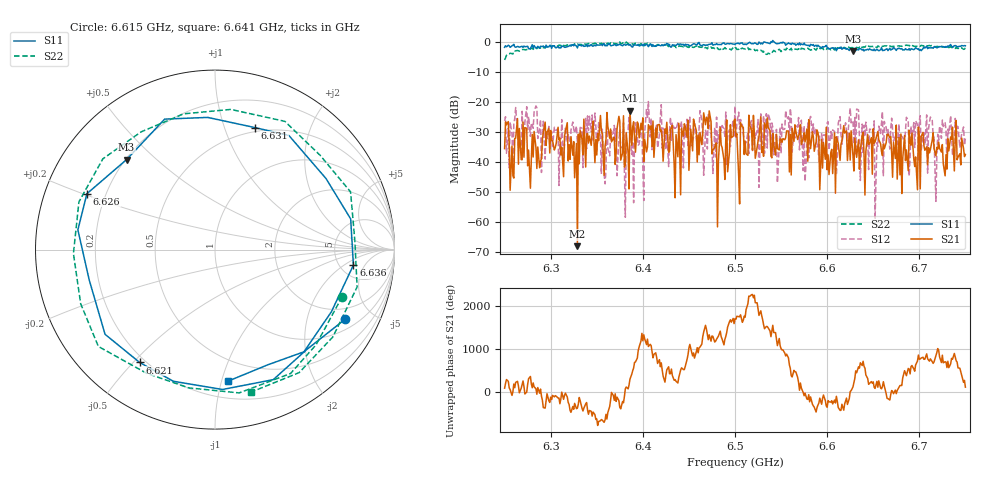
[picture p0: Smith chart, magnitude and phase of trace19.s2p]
# Hz S RI R 50
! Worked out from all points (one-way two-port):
!   401 points, 6.25 GHz to 6.75 GHz, reference 50 ohm
!   highest |S21| = -22.80 dB at 6.386 GHz (marker M1); lowest = -67.9 dB at 6.329 GHz (marker M2)
!   lowest |S11| = -3.1 dB at 6.628 GHz (marker M3), VSWR 5.73, Z = 10.2 + j20.2 ohm
!   |S11| at or under -10 dB: nowhere
!   |S22| runs from -6.0 to 0.0 dB; largest |S21 - S12| = 0.12
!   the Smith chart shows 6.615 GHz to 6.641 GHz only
!   S11 on the Smith chart (normalised r, x): 6.615 GHz: 1.44, -3.44; 6.621 GHz: 0.18, -0.52; 6.626 GHz: 0.13, +0.21; 6.631 GHz: 0.46, +1.27; 6.636 GHz: 6.65, -2.89; 6.641 GHz: 0.33, -1.05
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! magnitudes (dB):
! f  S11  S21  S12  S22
! 6.25 GHz  -1.8  -35.5  -26.2  -6.0
! 6.258 GHz  -1.3  -34.6  -30.5  -3.9
! 6.318 GHz  -1.6  -26.9  -33.2  -1.0
! 6.329 GHz  -2.0  -67.9  -33.9  -0.6
! 6.334 GHz  -1.3  -32.4  -28.7  -0.9
! 6.358 GHz  -0.6  -44.4  -43.9  -0.4
! 6.386 GHz  -0.8  -22.8  -31.4  -0.5
! 6.418 GHz  -1.1  -27.4  -30.8  -0.9
! 6.435 GHz  -1.1  -51.8  -28.5  -1.4
! 6.471 GHz  -0.9  -28.9  -24.0  -1.7
! 6.48 GHz  -0.5  -33.6  -25.0  -2.2
! 6.5 GHz  -0.9  -25.6  -21.3  -2.0
! 6.584 GHz  -1.1  -29.8  -30.2  -2.5
! 6.615 GHz  -1.7  -33.9  -30.8  -2.4
! 6.621 GHz  -2.4  -29.6  -29.9  -2.1
! 6.626 GHz  -2.2  -29.5  -26.9  -1.9
! 6.628 GHz  -3.1  -37.8  -26.1  -1.9
! 6.631 GHz  -2.9  -35.1  -37.3  -2.1
! 6.636 GHz  -2.2  -36.0  -46.1  -2.1
! 6.641 GHz  -2.7  -50.9  -31.5  -1.7
! 6.668 GHz  -2.1  -31.8  -35.6  -1.4
! 6.75 GHz  -1.3  -37.4  -32.0  -2.0
